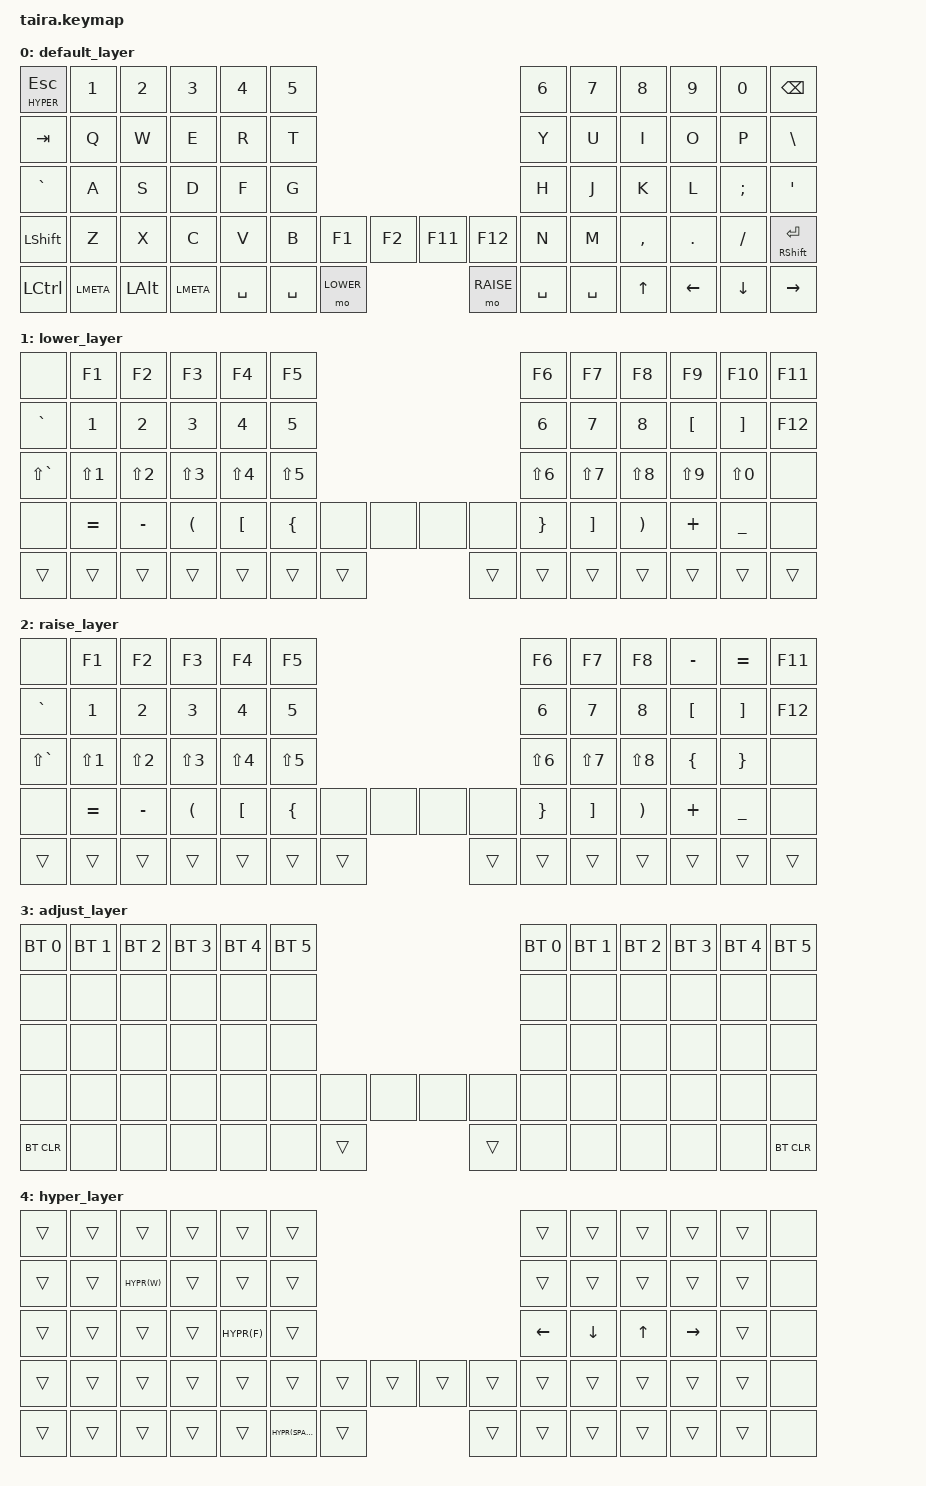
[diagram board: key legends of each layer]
/*
 * Copyright (c) 2020 The ZMK Contributors
 *
 * SPDX-License-Identifier: MIT
 */

#include <behaviors.dtsi>
#include <dt-bindings/zmk/keys.h>
#include <dt-bindings/zmk/outputs.h>
#include <dt-bindings/zmk/bt.h>

#define DEFAULT 0
#define LOWER   1
#define RAISE   2
#define ADJUST  3
#define HYPER   4

#define HYPR(KC) LC(LS(LA(LG(KC))))


&mt {
        tapping-term-ms = <130>;
};

/ {

        conditional_layers {
                compatible = "zmk,conditional-layers";

                tri_layer {
                        if-layers  = <1 2>;
                        then-layer = <3>;
                };
        };

        keymap {
                compatible = "zmk,keymap";

                default_layer {
/* QWERTY
 * .----------------------------------------------------------------------------------------------------------------------------------.
 * |  `   |   1  |   2  |   3  |   4  |   5  |                                              |   6  |   7  |   8  |   9  |   0  | PScr |
 * |-------------+------+------+------+------+------+------+-------+-+-------+-------+------+------+------+------+------+------+------|
 * | ESC  |   Q  |   W  |   E  |   R  |   T  |                                              |   Y  |   U  |   I  |   O  |   P  |  \   |
 * |-------------+------+------+------+------+------+------+-------+-+-------+-------+------+------+------+------+------+------+------|
 * | Tab  |   A  |   S  |   D  |   F  |   G  |                                              |   H  |   J  |   K  |   L  |   ;  |  '   |
 * |-------------+------+------+------+------+------+------+-------+-+-------+-------+------+------+------+------+------+------+------|
 * | Shift|   Z  |   X  |   C  |   V  |   B  |      | Del  | PGDN  | | PGUP  | Home  |      |   N  |   M  |   ,  |   .  |   /  | Shift|
 * |-------------+------+------+------+------+------+------+-------+-+-------+-------+------+------+------+------+------+------+------|
 * | Ctrl | Alt  | Meta | Alt  |             | Meta | Space| Lower | | Raise | Enter | RAlt |             | LEFT | DOWN | UP   | RIGHT|
 * .----------------------------------------------------------------------------------------------------------------------------------.
 */
                        bindings = <
&lt HYPER ESC    &kp  N1    &kp  N2     &kp  N3     &kp  N4    &kp  N5                                                                        &kp  N6  &kp  N7    &kp  N8     &kp  N9    &kp  N0       &kp  BSPC
&kp  TAB      &kp  Q     &kp  W      &kp  E      &kp  R     &kp  T                                                                         &kp  Y   &kp  U     &kp  I      &kp  O     &kp  P        &kp  BSLH
&kp GRAVE &kp  A     &kp  S      &kp  D      &kp  F     &kp  G                                                                         &kp  H   &kp  J     &kp  K      &kp  L     &kp  SEMI     &kp  SQT
&kp  LSHFT    &kp  Z     &kp  X      &kp  C      &kp  V     &kp  B             &kp  F1    &kp  F2    &kp  F11  &kp  F12             &kp  N   &kp  M     &kp  COMMA  &kp  DOT   &kp  SLASH    &mt  RSHFT ENTER
&kp  LCTRL    &kp LMETA   &kp  LALT  &kp  LMETA                       &kp SPACE &kp  SPACE  &mo  LOWER    &mo  RAISE  &kp  SPACE &kp  SPACE                       &kp  UP   &kp  LEFT  &kp  DOWN       &kp  RIGHT
                        >;
                };

                lower_layer {
/* QWERTY
 * .----------------------------------------------------------------------------------------------------------------------------------.
 * |  `   |   1  |   2  |   3  |   4  |   5  |                                              |   6  |   7  |   8  |   9  |   0  | PScr |
 * |-------------+------+------+------+------+------+------+-------+-+-------+-------+------+------+------+------+------+------+------|
 * | ESC  |   Q  |   W  |   E  |   R  |   T  |                                              |   Y  |   U  |   I  |   O  |   P  |  \   |
 * |-------------+------+------+------+------+------+------+-------+-+-------+-------+------+------+------+------+------+------+------|
 * | Tab  |   A  |   S  |   D  |   F  |   G  |                                              |   H  |   J  |   K  |   L  |   ;  |  '   |
 * |-------------+------+------+------+------+------+------+-------+-+-------+-------+------+------+------+------+------+------+------|
 * | Shift|   Z  |   X  |   C  |   V  |   B  |      | Del  | PGDN  | | PGUP  | Home  |      |   N  |   M  |   ,  |   .  |   /  | Shift|
 * |-------------+------+------+------+------+------+------+-------+-+-------+-------+------+------+------+------+------+------+------|
 * | Ctrl | Alt  | Meta | Alt  |             | Meta | Space| Lower | | Raise | Enter | RAlt |             | LEFT | DOWN | UP   | RIGHT|
 * .----------------------------------------------------------------------------------------------------------------------------------.
 */
                        bindings = <
&none          &kp  F1      &kp  F2      &kp  F3     &kp  F4     &kp  F5                                                                        &kp  F6    &kp  F7    &kp  F8     &kp  F9    &kp  F10      &kp  F11
&kp  GRAVE     &kp  N1      &kp  N2      &kp  N3     &kp  N4     &kp  N5                                                                        &kp  N6    &kp  N7    &kp  N8     &kp  LBKT    &kp  RBKT       &kp  F12
&kp  LS(GRAVE) &kp LS(N1)   &kp  LS(N2)  &kp  LS(N3) &kp  LS(N4) &kp  LS(N5)                                                                    &kp LS(N6) &kp LS(N7) &kp LS(N8)  &kp LS(N9) &kp  LS(N0)   &none
&none          &kp EQUAL    &kp MINUS    &kp  LPAR   &kp  LBKT   &kp  LBRC          &none       &none         &none       &none                 &kp RBRC   &kp RBKT   &kp RPAR    &kp PLUS   &kp  UNDER    &none
&trans         &trans       &trans       &trans                           &trans    &trans      &trans        &trans      &trans    &trans                            &trans      &trans     &trans        &trans
                        >;
                };

                raise_layer {
/* QWERTY
 * .----------------------------------------------------------------------------------------------------------------------------------.
 * |  `   |   1  |   2  |   3  |   4  |   5  |                                              |   6  |   7  |   8  |   9  |   0  | PScr |
 * |-------------+------+------+------+------+------+------+-------+-+-------+-------+------+------+------+------+------+------+------|
 * | ESC  |   Q  |   W  |   E  |   R  |   T  |                                              |   Y  |   U  |   I  |   O  |   P  |  \   |
 * |-------------+------+------+------+------+------+------+-------+-+-------+-------+------+------+------+------+------+------+------|
 * | Tab  |   A  |   S  |   D  |   F  |   G  |                                              |   H  |   J  |   K  |   L  |   ;  |  '   |
 * |-------------+------+------+------+------+------+------+-------+-+-------+-------+------+------+------+------+------+------+------|
 * | Shift|   Z  |   X  |   C  |   V  |   B  |      | Del  | PGDN  | | PGUP  | Home  |      |   N  |   M  |   ,  |   .  |   /  | Shift|
 * |-------------+------+------+------+------+------+------+-------+-+-------+-------+------+------+------+------+------+------+------|
 * | Ctrl | Alt  | Meta | Alt  |             | Meta | Space| Lower | | Raise | Enter | RAlt |             | LEFT | DOWN | UP   | RIGHT|
 * .----------------------------------------------------------------------------------------------------------------------------------.
 */
                        bindings = <
&none          &kp  F1      &kp  F2      &kp  F3     &kp  F4     &kp  F5                                                                        &kp  F6    &kp  F7    &kp  F8     &kp  MINUS    &kp  EQUAL      &kp  F11
&kp  GRAVE     &kp  N1      &kp  N2      &kp  N3     &kp  N4     &kp  N5                                                                        &kp  N6    &kp  N7    &kp  N8     &kp  LBKT    &kp  RIGHT_BRACKET       &kp  F12
&kp  LS(GRAVE) &kp LS(N1)   &kp  LS(N2)  &kp  LS(N3) &kp  LS(N4) &kp  LS(N5)                                                                    &kp LS(N6) &kp LS(N7) &kp LS(N8)  &kp LEFT_BRACE &kp  RIGHT_BRACE   &none
&none          &kp EQUAL    &kp MINUS    &kp  LPAR   &kp  LBKT   &kp  LBRC          &none       &none         &none       &none                 &kp RBRC   &kp RBKT   &kp RPAR    &kp PLUS   &kp  UNDER    &none
&trans         &trans       &trans       &trans                           &trans    &trans      &trans        &trans      &trans    &trans                            &trans      &trans     &trans        &trans
                        >;
                };

                adjust_layer {
/* QWERTY
 * .----------------------------------------------------------------------------------------------------------------------------------.
 * |  `   |   1  |   2  |   3  |   4  |   5  |                                              |   6  |   7  |   8  |   9  |   0  | PScr |
 * |-------------+------+------+------+------+------+------+-------+-+-------+-------+------+------+------+------+------+------+------|
 * | ESC  |   Q  |   W  |   E  |   R  |   T  |                                              |   Y  |   U  |   I  |   O  |   P  |  \   |
 * |-------------+------+------+------+------+------+------+-------+-+-------+-------+------+------+------+------+------+------+------|
 * | Tab  |   A  |   S  |   D  |   F  |   G  |                                              |   H  |   J  |   K  |   L  |   ;  |  '   |
 * |-------------+------+------+------+------+------+------+-------+-+-------+-------+------+------+------+------+------+------+------|
 * | Shift|   Z  |   X  |   C  |   V  |   B  |      | Del  | PGDN  | | PGUP  | Home  |      |   N  |   M  |   ,  |   .  |   /  | Shift|
 * |-------------+------+------+------+------+------+------+-------+-+-------+-------+------+------+------+------+------+------+------|
 * | Ctrl | Alt  | Meta | Alt  |             | Meta | Space| Lower | | Raise | Enter | RAlt |             | LEFT | DOWN | UP   | RIGHT|
 * .----------------------------------------------------------------------------------------------------------------------------------.
 */
                        bindings = <
&bt BT_SEL 0 &bt BT_SEL 1 &bt BT_SEL 2 &bt BT_SEL 3 &bt BT_SEL 4 &bt BT_SEL 5                                                                          &bt BT_SEL 0 &bt BT_SEL 1 &bt BT_SEL 2 &bt BT_SEL 3 &bt BT_SEL 4 &bt BT_SEL 5
&none        &none        &none        &none        &none        &none                                                                                 &none        &none        &none        &none        &none        &none
&none        &none        &none        &none        &none        &none                                                                                 &none        &none        &none        &none        &none        &none
&none        &none        &none        &none        &none        &none                     &none       &none         &none       &none                 &none        &none        &none        &none        &none        &none
&bt BT_CLR   &none        &none        &none                                     &none     &none       &trans        &trans      &none     &none                                 &none        &none        &none        &bt BT_CLR
                        >;
                };

                hyper_layer {
/* QWERTY
 * .----------------------------------------------------------------------------------------------------------------------------------.
 * |  `   |   1  |   2  |   3  |   4  |   5  |                                              |   6  |   7  |   8  |   9  |   0  | PScr |
 * |-------------+------+------+------+------+------+------+-------+-+-------+-------+------+------+------+------+------+------+------|
 * | ESC  |   Q  |   W  |   E  |   R  |   T  |                                              |   Y  |   U  |   I  |   O  |   P  |  \   |
 * |-------------+------+------+------+------+------+------+-------+-+-------+-------+------+------+------+------+------+------+------|
 * | Tab  |   A  |   S  |   D  |   F  |   G  |                                              |   H  |   J  |   K  |   L  |   ;  |  '   |
 * |-------------+------+------+------+------+------+------+-------+-+-------+-------+------+------+------+------+------+------+------|
 * | Shift|   Z  |   X  |   C  |   V  |   B  |      | Del  | PGDN  | | PGUP  | Home  |      |   N  |   M  |   ,  |   .  |   /  | Shift|
 * |-------------+------+------+------+------+------+------+-------+-+-------+-------+------+------+------+------+------+------+------|
 * | Ctrl | Alt  | Meta | Alt  |             | Meta | Space| Lower | | Raise | Enter | RAlt |             | LEFT | DOWN | UP   | RIGHT|
 * .----------------------------------------------------------------------------------------------------------------------------------.
 */
                        bindings = <
&trans        &trans     &trans      &trans      &trans      &trans                                                                         &trans   &trans     &trans      &trans     &trans        &none
&trans        &trans     &kp HYPR(W) &trans      &trans      &trans                                                                         &trans   &trans     &trans      &trans     &trans        &none
&trans        &trans     &trans      &trans      &kp HYPR(F) &trans                                                                         &kp LEFT &kp DOWN   &kp UP      &kp RIGHT  &trans        &none
&trans        &trans     &trans      &trans      &trans      &trans             &trans      &trans        &trans      &trans                &trans   &trans     &trans      &trans     &trans        &none
&trans        &trans     &trans      &trans                           &trans    &kp HYPR(SPACE)       &trans        &trans      &trans    &trans                          &trans      &trans     &trans        &none
                        >;
                };
        };
};
